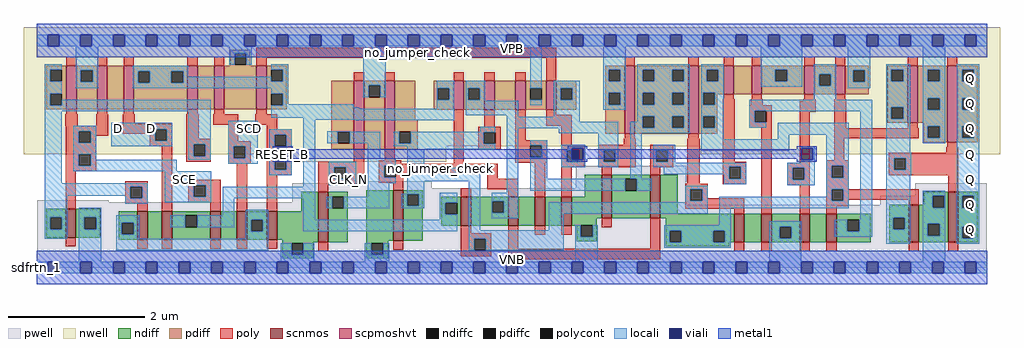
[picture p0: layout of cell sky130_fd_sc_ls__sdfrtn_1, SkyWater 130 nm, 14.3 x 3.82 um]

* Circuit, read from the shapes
.subckt sky130_fd_sc_ls__sdfrtn_1 CLK_N D RESET_B SCD SCE VGND VNB VPB VPWR Q
XM1 VGND SCE n1 VNB sky130_fd_pr__nfet_01v8 w=0.42 l=0.15
XM2 n2 n1 n3 VNB sky130_fd_pr__nfet_01v8 w=0.42 l=0.15
XM3 n4 D n2 VNB sky130_fd_pr__nfet_01v8 w=0.42 l=0.15
XM4 n5 SCE n4 VNB sky130_fd_pr__nfet_01v8 w=0.42 l=0.15
XM5 n3 SCD n5 VNB sky130_fd_pr__nfet_01v8 w=0.42 l=0.15
XM6 VGND RESET_B n3 VNB sky130_fd_pr__nfet_01v8 w=0.42 l=0.15
XM7 n6 CLK_N VGND VNB sky130_fd_pr__nfet_01v8 w=0.74 l=0.15
XM8 n7 n6 VGND VNB sky130_fd_pr__nfet_01v8 w=0.74 l=0.15
XM9 n8 n7 n4 VNB sky130_fd_pr__nfet_01v8 w=0.42 l=0.15
XM10 n9 n6 n8 VNB sky130_fd_pr__nfet_01v8 w=0.42 l=0.15
XM11 n10 n11 n9 VNB sky130_fd_pr__nfet_01v8 w=0.42 l=0.15
XM12 VGND RESET_B n10 VNB sky130_fd_pr__nfet_01v8 w=0.42 l=0.15
XM13 n11 n8 VGND VNB sky130_fd_pr__nfet_01v8 w=0.64 l=0.15
XM14 n12 n6 n11 VNB sky130_fd_pr__nfet_01v8 w=0.64 l=0.15
XM15 n13 n7 n12 VNB sky130_fd_pr__nfet_01v8 w=0.42 l=0.15
XM16 VGND n14 n13 VNB sky130_fd_pr__nfet_01v8 w=0.42 l=0.15
XM17 n15 RESET_B VGND VNB sky130_fd_pr__nfet_01v8 w=0.42 l=0.15
XM18 n14 n12 n15 VNB sky130_fd_pr__nfet_01v8 w=0.42 l=0.15
XM19 VGND n12 n16 VNB sky130_fd_pr__nfet_01v8 w=0.55 l=0.15
XM20 Q n16 VGND VNB sky130_fd_pr__nfet_01v8 w=0.74 l=0.15
XM21 VPWR SCE n1 VPB sky130_fd_pr__pfet_01v8_hvt w=0.64 l=0.15
XM22 n17 SCE VPWR VPB sky130_fd_pr__pfet_01v8_hvt w=0.64 l=0.15
XM23 n4 D n17 VPB sky130_fd_pr__pfet_01v8_hvt w=0.64 l=0.15
XM24 n18 n1 n4 VPB sky130_fd_pr__pfet_01v8_hvt w=0.64 l=0.15
XM25 VPWR SCD n18 VPB sky130_fd_pr__pfet_01v8_hvt w=0.64 l=0.15
XM26 n4 RESET_B VPWR VPB sky130_fd_pr__pfet_01v8_hvt w=0.64 l=0.15
XM27 VPWR CLK_N n6 VPB sky130_fd_pr__pfet_01v8_hvt w=1 l=0.15
XM28 n7 n6 VPWR VPB sky130_fd_pr__pfet_01v8_hvt w=1 l=0.15
XM29 n8 n6 n4 VPB sky130_fd_pr__pfet_01v8_hvt w=0.42 l=0.15
XM30 n19 n7 n8 VPB sky130_fd_pr__pfet_01v8_hvt w=0.42 l=0.15
XM31 VPWR n11 n19 VPB sky130_fd_pr__pfet_01v8_hvt w=0.42 l=0.15
XM32 n8 RESET_B VPWR VPB sky130_fd_pr__pfet_01v8_hvt w=0.42 l=0.15
XM33 n11 n8 VPWR VPB sky130_fd_pr__pfet_01v8_hvt w=1 l=0.15
XM34 n12 n7 n11 VPB sky130_fd_pr__pfet_01v8_hvt w=1 l=0.15
XM35 n20 n6 n12 VPB sky130_fd_pr__pfet_01v8_hvt w=0.42 l=0.15
XM36 VPWR n14 n20 VPB sky130_fd_pr__pfet_01v8_hvt w=0.42 l=0.15
XM37 n14 RESET_B VPWR VPB sky130_fd_pr__pfet_01v8_hvt w=0.42 l=0.15
XM38 VPWR n12 n14 VPB sky130_fd_pr__pfet_01v8_hvt w=0.42 l=0.15
XM39 VPWR n12 n16 VPB sky130_fd_pr__pfet_01v8_hvt w=0.84 l=0.15
XM40 Q n16 VPWR VPB sky130_fd_pr__pfet_01v8_hvt w=1.12 l=0.15
.ends

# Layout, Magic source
magic
tech sky130A
magscale 1 2
<< nwell >>
rect -38 356 2822 704
rect -38 332 1199 356
rect 1945 332 2822 356
rect 750 311 1199 332
<< pwell >>
rect 939 248 1157 253
rect 748 233 1157 248
rect 1579 233 1903 298
rect 1 191 211 198
rect 748 191 1903 233
rect 2573 210 2783 248
rect 1 184 1903 191
rect 2471 184 2783 210
rect 1 49 2783 184
rect 0 0 2784 49
<< scnmos >>
rect 84 88 114 172
rect 294 81 324 165
rect 366 81 396 165
rect 508 81 538 165
rect 586 81 616 165
rect 674 81 704 165
rect 824 74 854 222
rect 1044 79 1074 227
rect 1242 123 1272 207
rect 1381 123 1411 207
rect 1459 123 1489 207
rect 1537 123 1567 207
rect 1655 144 1685 272
rect 1797 144 1827 272
rect 2043 74 2073 158
rect 2123 74 2153 158
rect 2235 74 2265 158
rect 2313 74 2343 158
rect 2554 74 2584 184
rect 2670 74 2700 222
<< scpmoshvt >>
rect 86 464 116 592
rect 176 464 206 592
rect 254 464 284 592
rect 441 464 471 592
rect 519 464 549 592
rect 643 464 673 592
rect 929 347 959 547
rect 1019 347 1049 547
rect 1221 463 1251 547
rect 1311 463 1341 547
rect 1402 463 1432 547
rect 1492 463 1522 547
rect 1722 392 1752 592
rect 1909 392 1939 592
rect 2012 508 2042 592
rect 2094 508 2124 592
rect 2249 508 2279 592
rect 2339 508 2369 592
rect 2551 424 2581 592
rect 2667 368 2697 592
<< ndiff >>
rect 27 147 84 172
rect 27 113 39 147
rect 73 113 84 147
rect 27 88 84 113
rect 114 147 185 172
rect 774 165 824 222
rect 114 113 139 147
rect 173 113 185 147
rect 114 88 185 113
rect 239 132 294 165
rect 239 98 249 132
rect 283 98 294 132
rect 239 81 294 98
rect 324 81 366 165
rect 396 153 508 165
rect 396 119 435 153
rect 469 119 508 153
rect 396 81 508 119
rect 538 81 586 165
rect 616 140 674 165
rect 616 106 628 140
rect 662 106 674 140
rect 616 81 674 106
rect 704 81 824 165
rect 719 74 824 81
rect 854 208 911 222
rect 854 174 865 208
rect 899 174 911 208
rect 854 74 911 174
rect 965 79 1044 227
rect 1074 215 1131 227
rect 1074 181 1085 215
rect 1119 181 1131 215
rect 1605 207 1655 272
rect 1074 79 1131 181
rect 1185 190 1242 207
rect 1185 156 1197 190
rect 1231 156 1242 190
rect 1185 123 1242 156
rect 1272 195 1381 207
rect 1272 161 1334 195
rect 1368 161 1381 195
rect 1272 123 1381 161
rect 1411 123 1459 207
rect 1489 123 1537 207
rect 1567 144 1655 207
rect 1685 260 1797 272
rect 1685 226 1724 260
rect 1758 226 1797 260
rect 1685 144 1797 226
rect 1827 158 1877 272
rect 2599 210 2670 222
rect 2599 184 2625 210
rect 1827 144 2043 158
rect 1567 124 1640 144
rect 1567 123 1594 124
rect 719 72 809 74
rect 719 38 747 72
rect 781 38 809 72
rect 965 72 1029 79
rect 719 27 809 38
rect 965 38 980 72
rect 1014 38 1029 72
rect 965 27 1029 38
rect 1582 90 1594 123
rect 1628 90 1640 124
rect 1582 78 1640 90
rect 1842 108 2043 144
rect 1842 74 1854 108
rect 1888 74 1982 108
rect 2016 74 2043 108
rect 2073 74 2123 158
rect 2153 120 2235 158
rect 2153 86 2176 120
rect 2210 86 2235 120
rect 2153 74 2235 86
rect 2265 74 2313 158
rect 2343 140 2443 158
rect 2343 106 2375 140
rect 2409 106 2443 140
rect 2343 74 2443 106
rect 2497 146 2554 184
rect 2497 112 2509 146
rect 2543 112 2554 146
rect 2497 74 2554 112
rect 2584 176 2625 184
rect 2659 176 2670 210
rect 2584 128 2670 176
rect 2584 94 2611 128
rect 2645 94 2670 128
rect 2584 74 2670 94
rect 2700 210 2757 222
rect 2700 176 2711 210
rect 2745 176 2757 210
rect 2700 120 2757 176
rect 2700 86 2711 120
rect 2745 86 2757 120
rect 2700 74 2757 86
rect 1842 62 2028 74
<< pdiff >>
rect 567 628 625 639
rect 567 594 579 628
rect 613 594 625 628
rect 567 592 625 594
rect 27 580 86 592
rect 27 546 39 580
rect 73 546 86 580
rect 27 510 86 546
rect 27 476 39 510
rect 73 476 86 510
rect 27 464 86 476
rect 116 578 176 592
rect 116 544 129 578
rect 163 544 176 578
rect 116 464 176 544
rect 206 464 254 592
rect 284 576 441 592
rect 284 542 297 576
rect 331 542 394 576
rect 428 542 441 576
rect 284 464 441 542
rect 471 464 519 592
rect 549 464 643 592
rect 673 580 732 592
rect 673 546 686 580
rect 720 546 732 580
rect 1665 580 1722 592
rect 673 510 732 546
rect 673 476 686 510
rect 720 476 732 510
rect 673 464 732 476
rect 862 398 929 547
rect 862 364 882 398
rect 916 364 929 398
rect 862 347 929 364
rect 959 534 1019 547
rect 959 500 972 534
rect 1006 500 1019 534
rect 959 347 1019 500
rect 1049 433 1108 547
rect 1162 526 1221 547
rect 1162 492 1174 526
rect 1208 492 1221 526
rect 1162 463 1221 492
rect 1251 526 1311 547
rect 1251 492 1264 526
rect 1298 492 1311 526
rect 1251 463 1311 492
rect 1341 463 1402 547
rect 1432 526 1492 547
rect 1432 492 1445 526
rect 1479 492 1492 526
rect 1432 463 1492 492
rect 1522 526 1581 547
rect 1522 492 1535 526
rect 1569 492 1581 526
rect 1522 463 1581 492
rect 1665 546 1675 580
rect 1709 546 1722 580
rect 1665 512 1722 546
rect 1665 478 1675 512
rect 1709 478 1722 512
rect 1049 398 1116 433
rect 1049 364 1062 398
rect 1096 364 1116 398
rect 1049 347 1116 364
rect 1665 392 1722 478
rect 1752 580 1909 592
rect 1752 546 1775 580
rect 1809 546 1862 580
rect 1896 546 1909 580
rect 1752 512 1909 546
rect 1752 478 1775 512
rect 1809 478 1862 512
rect 1896 478 1909 512
rect 1752 444 1909 478
rect 1752 410 1775 444
rect 1809 410 1862 444
rect 1896 410 1909 444
rect 1752 392 1909 410
rect 1939 580 2012 592
rect 1939 546 1963 580
rect 1997 546 2012 580
rect 1939 512 2012 546
rect 1939 478 1952 512
rect 1986 508 2012 512
rect 2042 508 2094 592
rect 2124 580 2249 592
rect 2124 546 2164 580
rect 2198 546 2249 580
rect 2124 508 2249 546
rect 2279 567 2339 592
rect 2279 533 2292 567
rect 2326 533 2339 567
rect 2279 508 2339 533
rect 2369 578 2438 592
rect 2369 544 2392 578
rect 2426 544 2438 578
rect 2369 508 2438 544
rect 2492 580 2551 592
rect 2492 546 2504 580
rect 2538 546 2551 580
rect 1986 478 1994 508
rect 1939 444 1994 478
rect 1939 410 1952 444
rect 1986 410 1994 444
rect 1939 392 1994 410
rect 2492 470 2551 546
rect 2492 436 2504 470
rect 2538 436 2551 470
rect 2492 424 2551 436
rect 2581 580 2667 592
rect 2581 546 2611 580
rect 2645 546 2667 580
rect 2581 497 2667 546
rect 2581 463 2611 497
rect 2645 463 2667 497
rect 2581 424 2667 463
rect 2599 414 2667 424
rect 2599 380 2611 414
rect 2645 380 2667 414
rect 2599 368 2667 380
rect 2697 580 2757 592
rect 2697 546 2711 580
rect 2745 546 2757 580
rect 2697 497 2757 546
rect 2697 463 2711 497
rect 2745 463 2757 497
rect 2697 414 2757 463
rect 2697 380 2711 414
rect 2745 380 2757 414
rect 2697 368 2757 380
<< ndiffc >>
rect 39 113 73 147
rect 139 113 173 147
rect 249 98 283 132
rect 435 119 469 153
rect 628 106 662 140
rect 865 174 899 208
rect 1085 181 1119 215
rect 1197 156 1231 190
rect 1334 161 1368 195
rect 1724 226 1758 260
rect 747 38 781 72
rect 980 38 1014 72
rect 1594 90 1628 124
rect 1854 74 1888 108
rect 1982 74 2016 108
rect 2176 86 2210 120
rect 2375 106 2409 140
rect 2509 112 2543 146
rect 2625 176 2659 210
rect 2611 94 2645 128
rect 2711 176 2745 210
rect 2711 86 2745 120
<< pdiffc >>
rect 579 594 613 628
rect 39 546 73 580
rect 39 476 73 510
rect 129 544 163 578
rect 297 542 331 576
rect 394 542 428 576
rect 686 546 720 580
rect 686 476 720 510
rect 882 364 916 398
rect 972 500 1006 534
rect 1174 492 1208 526
rect 1264 492 1298 526
rect 1445 492 1479 526
rect 1535 492 1569 526
rect 1675 546 1709 580
rect 1675 478 1709 512
rect 1062 364 1096 398
rect 1775 546 1809 580
rect 1862 546 1896 580
rect 1775 478 1809 512
rect 1862 478 1896 512
rect 1775 410 1809 444
rect 1862 410 1896 444
rect 1963 546 1997 580
rect 1952 478 1986 512
rect 2164 546 2198 580
rect 2292 533 2326 567
rect 2392 544 2426 578
rect 2504 546 2538 580
rect 1952 410 1986 444
rect 2504 436 2538 470
rect 2611 546 2645 580
rect 2611 463 2645 497
rect 2611 380 2645 414
rect 2711 546 2745 580
rect 2711 463 2745 497
rect 2711 380 2745 414
<< poly >>
rect 86 592 116 618
rect 176 592 206 618
rect 254 592 284 618
rect 441 592 471 618
rect 519 592 549 618
rect 643 615 1522 645
rect 643 592 673 615
rect 929 547 959 573
rect 1019 547 1049 573
rect 1221 547 1251 573
rect 1311 547 1341 573
rect 1402 547 1432 573
rect 1492 547 1522 615
rect 1722 592 1752 618
rect 1909 592 1939 618
rect 2012 592 2042 618
rect 2094 592 2124 618
rect 2249 592 2279 618
rect 2339 592 2369 618
rect 2551 592 2581 618
rect 2667 592 2697 618
rect 86 449 116 464
rect 176 449 206 464
rect 254 449 284 464
rect 441 449 471 464
rect 519 449 549 464
rect 643 449 673 464
rect 83 416 119 449
rect 173 416 209 449
rect 84 400 209 416
rect 84 366 123 400
rect 157 386 209 400
rect 251 422 287 449
rect 251 406 396 422
rect 251 392 346 406
rect 157 366 173 386
rect 84 332 173 366
rect 330 372 346 392
rect 380 372 396 406
rect 330 356 396 372
rect 84 298 123 332
rect 157 298 173 332
rect 84 282 173 298
rect 84 172 114 282
rect 258 237 324 253
rect 258 203 274 237
rect 308 203 324 237
rect 258 187 324 203
rect 294 165 324 187
rect 366 165 396 356
rect 438 377 474 449
rect 516 419 590 449
rect 640 419 704 449
rect 438 361 509 377
rect 438 327 459 361
rect 493 327 509 361
rect 438 311 509 327
rect 560 371 590 419
rect 674 405 704 419
rect 674 389 747 405
rect 560 355 626 371
rect 560 321 576 355
rect 610 321 626 355
rect 560 305 626 321
rect 674 355 697 389
rect 731 355 747 389
rect 674 321 747 355
rect 444 241 538 257
rect 444 207 460 241
rect 494 207 538 241
rect 444 191 538 207
rect 508 165 538 191
rect 586 165 616 305
rect 674 287 697 321
rect 731 287 747 321
rect 929 310 959 347
rect 1019 315 1049 347
rect 674 271 747 287
rect 824 294 959 310
rect 674 165 704 271
rect 824 260 871 294
rect 905 260 959 294
rect 824 244 959 260
rect 1001 305 1067 315
rect 1221 305 1251 463
rect 1311 413 1341 463
rect 1293 397 1359 413
rect 1293 363 1309 397
rect 1343 363 1359 397
rect 1293 347 1359 363
rect 1402 374 1432 463
rect 1492 448 1522 463
rect 1492 416 1567 448
rect 1402 358 1495 374
rect 1402 324 1445 358
rect 1479 324 1495 358
rect 1402 308 1495 324
rect 1537 360 1567 416
rect 2012 493 2042 508
rect 2094 493 2124 508
rect 2249 493 2279 508
rect 2339 493 2369 508
rect 1722 377 1752 392
rect 1909 377 1939 392
rect 1719 360 1755 377
rect 1537 344 1603 360
rect 1537 310 1553 344
rect 1587 310 1603 344
rect 1001 299 1350 305
rect 1001 265 1017 299
rect 1051 275 1350 299
rect 1051 265 1074 275
rect 1001 249 1074 265
rect 824 222 854 244
rect 1044 227 1074 249
rect 1320 260 1350 275
rect 84 62 114 88
rect 294 55 324 81
rect 366 55 396 81
rect 508 55 538 81
rect 586 55 616 81
rect 674 55 704 81
rect 1242 207 1272 233
rect 1320 230 1411 260
rect 1381 207 1411 230
rect 1459 207 1489 308
rect 1537 294 1603 310
rect 1645 344 1755 360
rect 1645 310 1661 344
rect 1695 310 1755 344
rect 1645 294 1755 310
rect 1797 344 1864 360
rect 1797 310 1814 344
rect 1848 310 1864 344
rect 1797 294 1864 310
rect 1537 207 1567 294
rect 1655 272 1685 294
rect 1797 272 1827 294
rect 1906 246 1942 377
rect 2009 311 2045 493
rect 2091 476 2127 493
rect 2246 487 2282 493
rect 2087 460 2153 476
rect 2087 426 2103 460
rect 2137 426 2153 460
rect 2087 410 2153 426
rect 2009 295 2079 311
rect 2009 261 2029 295
rect 2063 261 2079 295
rect 1899 230 1965 246
rect 2009 245 2079 261
rect 1899 196 1915 230
rect 1949 203 1965 230
rect 1949 196 2073 203
rect 1899 173 2073 196
rect 2043 158 2073 173
rect 2123 158 2153 410
rect 2235 457 2282 487
rect 2235 308 2265 457
rect 2336 409 2372 493
rect 2551 409 2581 424
rect 2336 379 2584 409
rect 2336 314 2366 379
rect 2667 353 2697 368
rect 2664 337 2700 353
rect 2496 321 2700 337
rect 2199 292 2265 308
rect 2199 258 2215 292
rect 2249 258 2265 292
rect 2199 242 2265 258
rect 2235 158 2265 242
rect 2313 298 2379 314
rect 2313 264 2329 298
rect 2363 264 2379 298
rect 2496 287 2512 321
rect 2546 287 2700 321
rect 2496 271 2700 287
rect 2313 230 2379 264
rect 2313 196 2329 230
rect 2363 229 2379 230
rect 2363 199 2584 229
rect 2670 222 2700 271
rect 2363 196 2379 199
rect 2313 180 2379 196
rect 2554 184 2584 199
rect 2313 158 2343 180
rect 1242 101 1272 123
rect 1242 85 1331 101
rect 824 48 854 74
rect 1044 53 1074 79
rect 1242 51 1281 85
rect 1315 51 1331 85
rect 1242 33 1331 51
rect 1381 55 1411 123
rect 1459 97 1489 123
rect 1537 97 1567 123
rect 1655 118 1685 144
rect 1797 55 1827 144
rect 1381 25 1827 55
rect 2043 48 2073 74
rect 2123 48 2153 74
rect 2235 48 2265 74
rect 2313 48 2343 74
rect 2554 48 2584 74
rect 2670 48 2700 74
<< polycont >>
rect 123 366 157 400
rect 346 372 380 406
rect 123 298 157 332
rect 274 203 308 237
rect 459 327 493 361
rect 576 321 610 355
rect 697 355 731 389
rect 460 207 494 241
rect 697 287 731 321
rect 871 260 905 294
rect 1309 363 1343 397
rect 1445 324 1479 358
rect 1553 310 1587 344
rect 1017 265 1051 299
rect 1661 310 1695 344
rect 1814 310 1848 344
rect 2103 426 2137 460
rect 2029 261 2063 295
rect 1915 196 1949 230
rect 2215 258 2249 292
rect 2329 264 2363 298
rect 2512 287 2546 321
rect 2329 196 2363 230
rect 1281 51 1315 85
<< locali >>
rect 0 649 31 683
rect 65 649 127 683
rect 161 649 223 683
rect 257 649 319 683
rect 353 649 415 683
rect 449 649 511 683
rect 545 649 607 683
rect 641 649 703 683
rect 737 649 799 683
rect 833 649 895 683
rect 929 649 991 683
rect 1025 649 1087 683
rect 1121 649 1183 683
rect 1217 649 1279 683
rect 1313 649 1375 683
rect 1409 649 1471 683
rect 1505 649 1567 683
rect 1601 649 1663 683
rect 1697 649 1759 683
rect 1793 649 1855 683
rect 1889 649 1951 683
rect 1985 649 2047 683
rect 2081 649 2143 683
rect 2177 649 2239 683
rect 2273 649 2335 683
rect 2369 649 2431 683
rect 2465 649 2527 683
rect 2561 649 2623 683
rect 2657 649 2719 683
rect 2753 649 2784 683
rect 23 580 73 596
rect 23 546 39 580
rect 23 510 73 546
rect 113 578 179 649
rect 563 628 629 649
rect 563 594 579 628
rect 613 594 629 628
rect 113 544 129 578
rect 163 544 179 578
rect 113 526 179 544
rect 281 576 444 592
rect 281 542 297 576
rect 331 542 394 576
rect 428 560 444 576
rect 686 580 736 596
rect 428 546 686 560
rect 720 546 736 580
rect 428 542 736 546
rect 281 526 736 542
rect 23 476 39 510
rect 686 510 736 526
rect 73 476 509 492
rect 23 458 509 476
rect 23 248 73 458
rect 107 400 173 416
rect 107 366 123 400
rect 157 366 173 400
rect 107 332 173 366
rect 217 406 396 424
rect 217 372 346 406
rect 380 372 396 406
rect 217 356 396 372
rect 443 361 509 458
rect 720 479 736 510
rect 956 534 1022 649
rect 956 500 972 534
rect 1006 500 1022 534
rect 1171 526 1223 547
rect 1171 492 1174 526
rect 1208 492 1223 526
rect 720 476 929 479
rect 686 470 929 476
rect 686 468 940 470
rect 686 466 944 468
rect 1171 466 1223 492
rect 686 439 1223 466
rect 1257 526 1314 547
rect 1257 492 1264 526
rect 1298 492 1314 526
rect 1257 489 1314 492
rect 1445 526 1479 649
rect 1659 580 1725 649
rect 1257 447 1411 489
rect 1445 476 1479 492
rect 1515 526 1590 547
rect 1515 492 1535 526
rect 1569 492 1590 526
rect 781 434 1223 439
rect 107 298 123 332
rect 157 316 173 332
rect 443 327 459 361
rect 493 327 509 361
rect 443 316 509 327
rect 560 355 647 430
rect 560 321 576 355
rect 610 321 647 355
rect 157 298 409 316
rect 560 305 647 321
rect 681 389 747 405
rect 681 355 697 389
rect 731 355 747 389
rect 681 350 747 355
rect 681 321 703 350
rect 107 282 409 298
rect 681 287 697 321
rect 737 316 747 350
rect 731 287 747 316
rect 23 237 324 248
rect 23 210 274 237
rect 23 147 89 210
rect 258 203 274 210
rect 308 203 324 237
rect 258 187 324 203
rect 375 241 510 282
rect 681 271 747 287
rect 375 207 460 241
rect 494 207 510 241
rect 781 237 815 434
rect 932 432 1223 434
rect 1377 442 1411 447
rect 1515 442 1590 492
rect 1659 546 1675 580
rect 1709 546 1725 580
rect 1659 512 1725 546
rect 1659 478 1675 512
rect 1709 478 1725 512
rect 1659 462 1725 478
rect 1759 580 1913 596
rect 1759 546 1775 580
rect 1809 546 1862 580
rect 1896 546 1913 580
rect 1759 512 1913 546
rect 1759 478 1775 512
rect 1809 478 1862 512
rect 1896 478 1913 512
rect 1377 428 1590 442
rect 1759 444 1913 478
rect 1759 428 1775 444
rect 851 398 920 400
rect 1299 398 1343 413
rect 851 364 882 398
rect 916 364 1006 398
rect 969 321 1006 364
rect 1046 364 1062 398
rect 1096 397 1343 398
rect 1096 364 1309 397
rect 1046 363 1309 364
rect 1046 355 1343 363
rect 1085 347 1343 355
rect 1377 408 1704 428
rect 855 294 935 310
rect 855 260 871 294
rect 905 260 935 294
rect 855 242 935 260
rect 969 299 1051 321
rect 969 265 1017 299
rect 969 247 1051 265
rect 1085 293 1135 347
rect 1085 253 1299 293
rect 375 191 510 207
rect 544 203 815 237
rect 969 208 1033 247
rect 1085 217 1135 253
rect 23 113 39 147
rect 73 113 89 147
rect 23 84 89 113
rect 123 147 189 176
rect 544 153 578 203
rect 123 113 139 147
rect 173 113 189 147
rect 123 17 189 113
rect 233 132 299 153
rect 233 98 249 132
rect 283 98 299 132
rect 391 119 435 153
rect 469 119 578 153
rect 612 140 678 169
rect 233 85 299 98
rect 612 106 628 140
rect 662 106 678 140
rect 781 140 815 203
rect 849 174 865 208
rect 899 174 1033 208
rect 1069 215 1135 217
rect 1069 181 1085 215
rect 1119 181 1135 215
rect 1069 174 1135 181
rect 1181 190 1231 219
rect 1181 156 1197 190
rect 1181 140 1231 156
rect 781 106 1231 140
rect 1265 109 1299 253
rect 1377 219 1411 408
rect 1529 394 1704 408
rect 1445 358 1495 374
rect 1479 324 1495 358
rect 1445 260 1495 324
rect 1537 350 1607 360
rect 1537 344 1567 350
rect 1537 310 1553 344
rect 1601 316 1607 350
rect 1587 310 1607 316
rect 1537 294 1607 310
rect 1645 344 1704 394
rect 1645 310 1661 344
rect 1695 310 1704 344
rect 1645 294 1704 310
rect 1738 410 1775 428
rect 1809 410 1862 444
rect 1896 410 1913 444
rect 1738 394 1913 410
rect 1947 580 2013 596
rect 1947 546 1963 580
rect 1997 546 2013 580
rect 1947 512 2013 546
rect 2121 580 2242 649
rect 2121 546 2164 580
rect 2198 546 2242 580
rect 2121 530 2242 546
rect 2276 567 2342 596
rect 2276 533 2292 567
rect 2326 533 2342 567
rect 1947 478 1952 512
rect 1986 478 2013 512
rect 2276 492 2342 533
rect 2376 578 2442 649
rect 2376 544 2392 578
rect 2426 544 2442 578
rect 2376 526 2442 544
rect 2488 580 2559 596
rect 2488 546 2504 580
rect 2538 546 2559 580
rect 1947 444 2013 478
rect 1947 410 1952 444
rect 1986 410 2013 444
rect 2087 460 2447 492
rect 2087 426 2103 460
rect 2137 458 2447 460
rect 2087 410 2137 426
rect 1738 260 1772 394
rect 1947 376 2013 410
rect 2171 390 2379 424
rect 2171 376 2205 390
rect 1806 344 1870 360
rect 1806 310 1814 344
rect 1848 310 1870 344
rect 1947 342 2205 376
rect 2239 350 2279 356
rect 1806 308 1870 310
rect 2273 316 2279 350
rect 2239 308 2279 316
rect 1806 295 2079 308
rect 1806 294 2029 295
rect 1836 274 2029 294
rect 2013 261 2029 274
rect 2063 261 2079 295
rect 1445 226 1724 260
rect 1758 226 1802 260
rect 2013 245 2079 261
rect 2199 292 2279 308
rect 2199 258 2215 292
rect 2249 258 2279 292
rect 2199 242 2279 258
rect 2313 298 2379 390
rect 2313 264 2329 298
rect 2363 264 2379 298
rect 1899 230 1965 240
rect 1333 195 1411 219
rect 1333 161 1334 195
rect 1368 161 1411 195
rect 1899 196 1915 230
rect 1949 196 1965 230
rect 2313 230 2379 264
rect 2313 208 2329 230
rect 1899 192 1965 196
rect 1333 145 1411 161
rect 1499 158 1965 192
rect 1999 196 2329 208
rect 2363 196 2379 230
rect 1999 174 2379 196
rect 1499 109 1544 158
rect 1999 124 2033 174
rect 2413 140 2447 458
rect 612 85 678 106
rect 233 51 678 85
rect 1265 85 1544 109
rect 715 38 747 72
rect 781 38 813 72
rect 715 17 813 38
rect 961 38 980 72
rect 1014 38 1033 72
rect 1265 51 1281 85
rect 1315 51 1544 85
rect 1578 90 1594 124
rect 1628 90 1644 124
rect 961 17 1033 38
rect 1578 17 1644 90
rect 1838 108 2033 124
rect 1838 74 1854 108
rect 1888 74 1982 108
rect 2016 74 2033 108
rect 1838 58 2033 74
rect 2146 120 2240 136
rect 2146 86 2176 120
rect 2210 86 2240 120
rect 2338 106 2375 140
rect 2409 106 2447 140
rect 2338 90 2447 106
rect 2488 470 2559 546
rect 2488 436 2504 470
rect 2538 436 2559 470
rect 2488 337 2559 436
rect 2595 580 2661 649
rect 2595 546 2611 580
rect 2645 546 2661 580
rect 2595 497 2661 546
rect 2595 463 2611 497
rect 2645 463 2661 497
rect 2595 414 2661 463
rect 2595 380 2611 414
rect 2645 380 2661 414
rect 2595 364 2661 380
rect 2695 580 2761 596
rect 2695 546 2711 580
rect 2745 546 2761 580
rect 2695 497 2761 546
rect 2695 463 2711 497
rect 2745 463 2761 497
rect 2695 414 2761 463
rect 2695 380 2711 414
rect 2745 380 2761 414
rect 2488 321 2562 337
rect 2488 287 2512 321
rect 2546 287 2562 321
rect 2488 271 2562 287
rect 2488 146 2559 271
rect 2488 112 2509 146
rect 2543 112 2559 146
rect 2146 17 2240 86
rect 2488 70 2559 112
rect 2595 210 2661 226
rect 2595 176 2625 210
rect 2659 176 2661 210
rect 2595 128 2661 176
rect 2595 94 2611 128
rect 2645 94 2661 128
rect 2595 17 2661 94
rect 2695 210 2761 380
rect 2695 176 2711 210
rect 2745 176 2761 210
rect 2695 120 2761 176
rect 2695 86 2711 120
rect 2745 86 2761 120
rect 2695 70 2761 86
rect 0 -17 31 17
rect 65 -17 127 17
rect 161 -17 223 17
rect 257 -17 319 17
rect 353 -17 415 17
rect 449 -17 511 17
rect 545 -17 607 17
rect 641 -17 703 17
rect 737 -17 799 17
rect 833 -17 895 17
rect 929 -17 991 17
rect 1025 -17 1087 17
rect 1121 -17 1183 17
rect 1217 -17 1279 17
rect 1313 -17 1375 17
rect 1409 -17 1471 17
rect 1505 -17 1567 17
rect 1601 -17 1663 17
rect 1697 -17 1759 17
rect 1793 -17 1855 17
rect 1889 -17 1951 17
rect 1985 -17 2047 17
rect 2081 -17 2143 17
rect 2177 -17 2239 17
rect 2273 -17 2335 17
rect 2369 -17 2431 17
rect 2465 -17 2527 17
rect 2561 -17 2623 17
rect 2657 -17 2719 17
rect 2753 -17 2784 17
<< viali >>
rect 31 649 65 683
rect 127 649 161 683
rect 223 649 257 683
rect 319 649 353 683
rect 415 649 449 683
rect 511 649 545 683
rect 607 649 641 683
rect 703 649 737 683
rect 799 649 833 683
rect 895 649 929 683
rect 991 649 1025 683
rect 1087 649 1121 683
rect 1183 649 1217 683
rect 1279 649 1313 683
rect 1375 649 1409 683
rect 1471 649 1505 683
rect 1567 649 1601 683
rect 1663 649 1697 683
rect 1759 649 1793 683
rect 1855 649 1889 683
rect 1951 649 1985 683
rect 2047 649 2081 683
rect 2143 649 2177 683
rect 2239 649 2273 683
rect 2335 649 2369 683
rect 2431 649 2465 683
rect 2527 649 2561 683
rect 2623 649 2657 683
rect 2719 649 2753 683
rect 703 321 737 350
rect 703 316 731 321
rect 731 316 737 321
rect 1567 344 1601 350
rect 1567 316 1587 344
rect 1587 316 1601 344
rect 2239 316 2273 350
rect 31 -17 65 17
rect 127 -17 161 17
rect 223 -17 257 17
rect 319 -17 353 17
rect 415 -17 449 17
rect 511 -17 545 17
rect 607 -17 641 17
rect 703 -17 737 17
rect 799 -17 833 17
rect 895 -17 929 17
rect 991 -17 1025 17
rect 1087 -17 1121 17
rect 1183 -17 1217 17
rect 1279 -17 1313 17
rect 1375 -17 1409 17
rect 1471 -17 1505 17
rect 1567 -17 1601 17
rect 1663 -17 1697 17
rect 1759 -17 1793 17
rect 1855 -17 1889 17
rect 1951 -17 1985 17
rect 2047 -17 2081 17
rect 2143 -17 2177 17
rect 2239 -17 2273 17
rect 2335 -17 2369 17
rect 2431 -17 2465 17
rect 2527 -17 2561 17
rect 2623 -17 2657 17
rect 2719 -17 2753 17
<< metal1 >>
rect 0 683 2784 715
rect 0 649 31 683
rect 65 649 127 683
rect 161 649 223 683
rect 257 649 319 683
rect 353 649 415 683
rect 449 649 511 683
rect 545 649 607 683
rect 641 649 703 683
rect 737 649 799 683
rect 833 649 895 683
rect 929 649 991 683
rect 1025 649 1087 683
rect 1121 649 1183 683
rect 1217 649 1279 683
rect 1313 649 1375 683
rect 1409 649 1471 683
rect 1505 649 1567 683
rect 1601 649 1663 683
rect 1697 649 1759 683
rect 1793 649 1855 683
rect 1889 649 1951 683
rect 1985 649 2047 683
rect 2081 649 2143 683
rect 2177 649 2239 683
rect 2273 649 2335 683
rect 2369 649 2431 683
rect 2465 649 2527 683
rect 2561 649 2623 683
rect 2657 649 2719 683
rect 2753 649 2784 683
rect 0 617 2784 649
rect 691 350 749 356
rect 691 316 703 350
rect 737 347 749 350
rect 1555 350 1613 356
rect 1555 347 1567 350
rect 737 319 1567 347
rect 737 316 749 319
rect 691 310 749 316
rect 1555 316 1567 319
rect 1601 347 1613 350
rect 2227 350 2285 356
rect 2227 347 2239 350
rect 1601 319 2239 347
rect 1601 316 1613 319
rect 1555 310 1613 316
rect 2227 316 2239 319
rect 2273 316 2285 350
rect 2227 310 2285 316
rect 0 17 2784 49
rect 0 -17 31 17
rect 65 -17 127 17
rect 161 -17 223 17
rect 257 -17 319 17
rect 353 -17 415 17
rect 449 -17 511 17
rect 545 -17 607 17
rect 641 -17 703 17
rect 737 -17 799 17
rect 833 -17 895 17
rect 929 -17 991 17
rect 1025 -17 1087 17
rect 1121 -17 1183 17
rect 1217 -17 1279 17
rect 1313 -17 1375 17
rect 1409 -17 1471 17
rect 1505 -17 1567 17
rect 1601 -17 1663 17
rect 1697 -17 1759 17
rect 1793 -17 1855 17
rect 1889 -17 1951 17
rect 1985 -17 2047 17
rect 2081 -17 2143 17
rect 2177 -17 2239 17
rect 2273 -17 2335 17
rect 2369 -17 2431 17
rect 2465 -17 2527 17
rect 2561 -17 2623 17
rect 2657 -17 2719 17
rect 2753 -17 2784 17
rect 0 -49 2784 -17
<< labels >>
flabel comment s 1182 290 1182 290 0 FreeSans 300 0 0 0 no_jumper_check
flabel comment s 1114 630 1114 630 0 FreeSans 300 0 0 0 no_jumper_check
rlabel comment s 0 0 0 0 4 sdfrtn_1
flabel pwell s 0 0 2784 49 0 FreeSans 200 0 0 0 VNB
port 7 nsew ground bidirectional
flabel nwell s 0 617 2784 666 0 FreeSans 200 0 0 0 VPB
port 8 nsew power bidirectional
flabel metal1 s 703 316 737 350 0 FreeSans 340 0 0 0 RESET_B
port 3 nsew signal input
flabel metal1 s 0 617 2784 666 0 FreeSans 340 0 0 0 VPWR
port 9 nsew power bidirectional abutment
flabel metal1 s 0 0 2784 49 0 FreeSans 340 0 0 0 VGND
port 6 nsew ground bidirectional abutment
flabel locali s 2719 94 2753 128 0 FreeSans 340 0 0 0 Q
port 10 nsew signal output
flabel locali s 2719 168 2753 202 0 FreeSans 340 0 0 0 Q
port 10 nsew signal output
flabel locali s 2719 242 2753 276 0 FreeSans 340 0 0 0 Q
port 10 nsew signal output
flabel locali s 2719 316 2753 350 0 FreeSans 340 0 0 0 Q
port 10 nsew signal output
flabel locali s 2719 390 2753 424 0 FreeSans 340 0 0 0 Q
port 10 nsew signal output
flabel locali s 2719 464 2753 498 0 FreeSans 340 0 0 0 Q
port 10 nsew signal output
flabel locali s 2719 538 2753 572 0 FreeSans 340 0 0 0 Q
port 10 nsew signal output
flabel locali s 895 242 929 276 0 FreeSans 340 0 0 0 CLK_N
port 1 nsew clock input
flabel locali s 607 316 641 350 0 FreeSans 340 0 0 0 SCD
port 4 nsew signal input
flabel locali s 607 390 641 424 0 FreeSans 340 0 0 0 SCD
port 4 nsew signal input
flabel locali s 415 242 449 276 0 FreeSans 340 0 0 0 SCE
port 5 nsew signal input
flabel locali s 223 390 257 424 0 FreeSans 340 0 0 0 D
port 2 nsew signal input
flabel locali s 319 390 353 424 0 FreeSans 340 0 0 0 D
port 2 nsew signal input
<< properties >>
string LEFsite unit
string LEFclass CORE
string FIXED_BBOX 0 0 2784 666
string GDS_FILE $PDKPATH/libs.ref/sky130_fd_sc_ls/gds/sky130_fd_sc_ls.gds
string LEFsymmetry X Y R90
string GDS_END 2720634
string GDS_START 2699440
<< end >>
